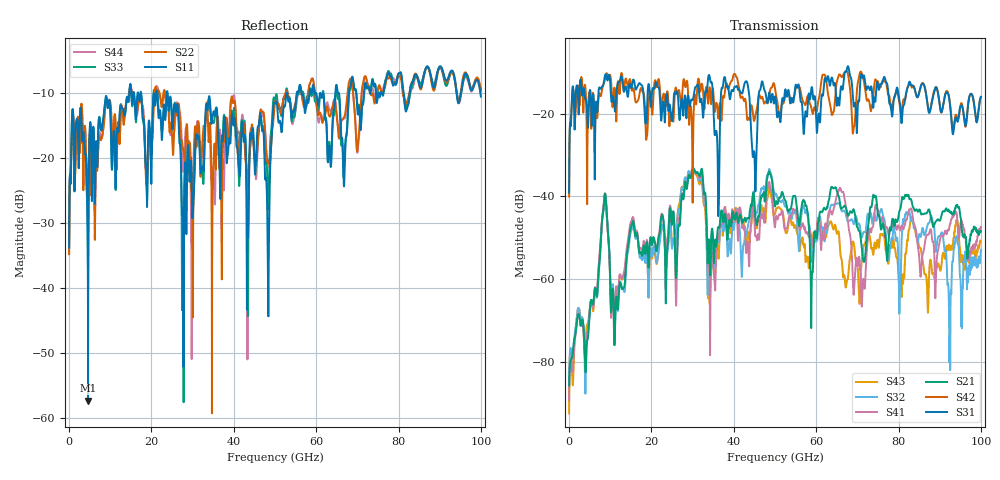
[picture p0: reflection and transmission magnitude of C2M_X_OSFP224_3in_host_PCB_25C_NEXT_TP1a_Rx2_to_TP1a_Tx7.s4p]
# GHz S RI R 45
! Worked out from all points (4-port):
!   4000 points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, 25 MHz to 100 GHz, reference 45 ohm
!   strongest paths, dB at 25 MHz, 25.02 GHz, 50.02 GHz, 75.03 GHz, 100 GHz:
!     S31: -39.1, -21.8, -15.9, -13.3, -16.0
!     S42: -40.1, -20.6, -13.9, -12.3, -15.9
!     S21: -85.8, -46.7, -42.5, -44.6, -48.5
!     S41: -89.2, -45.7, -47.4, -43.4, -47.4
!     S32: -85.2, -52.7, -39.6, -44.1, -53.0
!     S43: -92.5, -52.0, -44.3, -51.1, -51.0
!   lowest |S11| = -57.4 dB at 4.625 GHz (marker M1), VSWR 1.00, Z = 44.9 + j0.0896 ohm
!   |S11| at or under -10 dB: start of sweep to 14.63 GHz; 23.93 GHz to 52.84 GHz (28.92 GHz wide, 75.3 % of centre); 59.58 GHz to 64.67 GHz (5.091 GHz wide, 8.2 % of centre) (the widest 3 of 20)
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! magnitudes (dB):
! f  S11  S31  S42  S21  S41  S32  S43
! 25 MHz  -33.8  -39.1  -40.1  -85.8  -89.2  -85.2  -92.5
! 4.625 GHz  -57.4  -23.3  -19.5  -74.1  -72.2  -72.5  -70.5
! 8.6 GHz  -12.3  -11.5  -12.3  -40.3  -40.0  -40.5  -40.2
! 11.38 GHz  -23.4  -16.9  -19.2  -65.3  -62.3  -65.9  -63.0
! 30.12 GHz  -27.1  -16.4  -26.8  -33.5  -33.5  -33.1  -33.3
! 34.08 GHz  -10.5  -10.8  -13.8  -51.8  -58.5  -54.2  -64.8
! 100 GHz  -10.6  -16.0  -15.9  -48.5  -47.4  -53.0  -51.0
